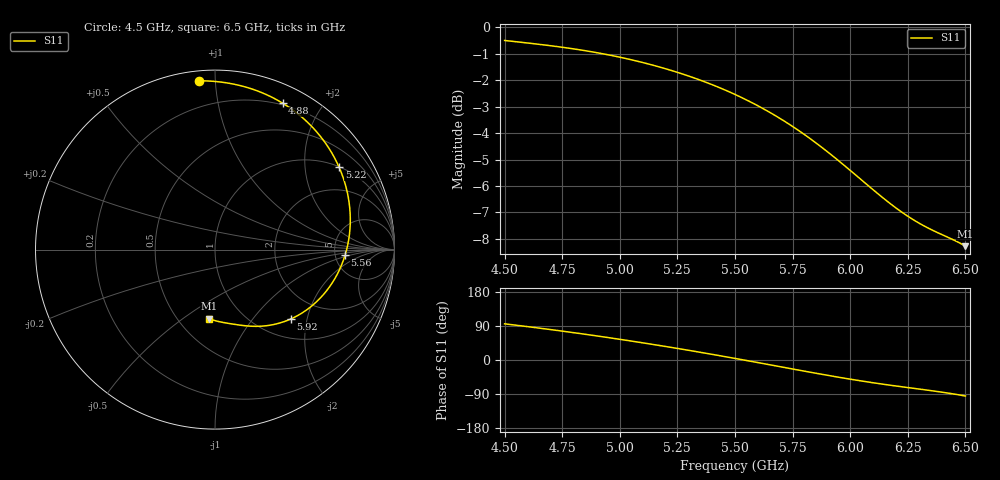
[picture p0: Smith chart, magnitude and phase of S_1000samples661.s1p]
! TOUCHSTONE file generated by CST MICROWAVE STUDIO
! Date and time: Fri Oct 28 22:52:22 2022
! Project name: L.cst
! Parameters = {Di=1.27; Epsilon_r=1.56; InnerDiameter=1.27; Length=2; Lf=10; Lg=60; OuterConductorThickness=0.2921; OuterDiameter=3.6; Wf=3; Wp=41.2; de=1.5; df=6.8; g=0.8; gx=3.46629; gy=4.84432; h=2.34; hf=1.524; px=13.3334; py=13.124; w=9.7; wx=9.86709; wy=8.27971}
! Header version: 2018
! Port assignment regex: !\s*Touchstone port\s*([0-9]+)\s*=\s*(CST MWS port|CST DS port)\s*([0-9]+|Zmin|Zmax)\s*\(\"(.*)\"\)(\s*mode\s*([0-9]+))?.*
! Touchstone port assignment:
! Touchstone port 1 = CST MWS port 1 ("")
# GHz S DB R 50
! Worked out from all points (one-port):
!   101 points, 4.5 GHz to 6.5 GHz, reference 50 ohm
!   lowest |S11| = -8.3 dB at 6.5 GHz (marker M1), VSWR 2.26, Z = 35 - j31.6 ohm
!   |S11| at or under -10 dB: nowhere
!   S11 on the Smith chart (normalised r, x): 4.5 GHz: 0.05, +0.91; 4.88 GHz: 0.18, +1.55; 5.22 GHz: 1.02, +3.00; 5.56 GHz: 6.17, -0.81; 5.92 GHz: 1.40, -1.60; 6.5 GHz: 0.70, -0.63
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4.5  -0.50 95.5
4.58  -0.57 89.5
4.64  -0.63 84.9
4.7  -0.70 80.2
4.76  -0.76 75.4
4.82  -0.84 70.4
4.88  -0.93 65.3
4.94  -1.02 60.0
5  -1.13 54.6
5.06  -1.25 49.0
5.12  -1.38 43.3
5.22  -1.62 33.5
5.26  -1.73 29.5
5.32  -1.91 23.4
5.38  -2.10 17.1
5.44  -2.31 10.7
5.5  -2.54 4.2
5.56  -2.79 -2.5
5.66  -3.26 -13.6
5.76  -3.81 -24.8
5.84  -4.30 -33.7
5.92  -4.83 -42.3
6  -5.41 -50.5
6.06  -5.85 -56.4
6.12  -6.29 -61.9
6.26  -7.20 -73.5
6.42  -7.92 -86.9
6.5  -8.28 -95.0
